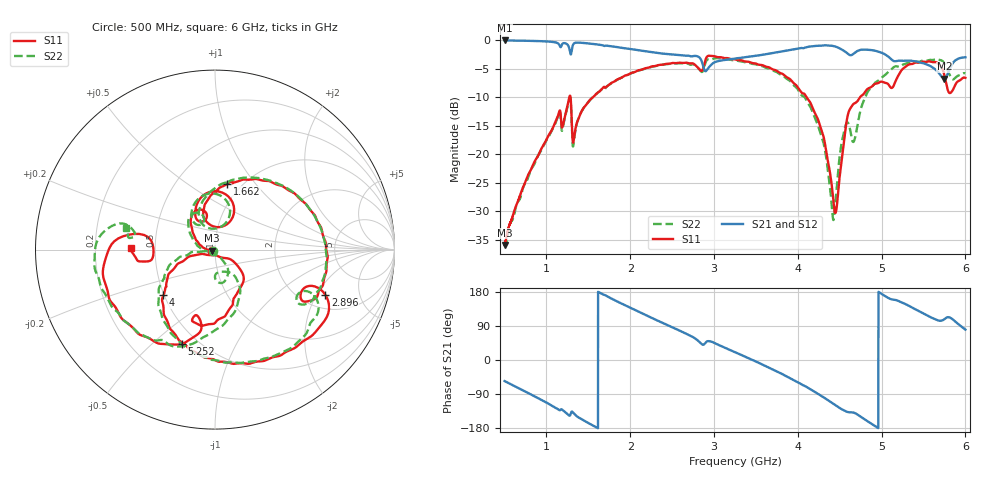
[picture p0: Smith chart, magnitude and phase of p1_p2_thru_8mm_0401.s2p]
# Hz S DB R 50
! CMT, C2409, 19096212, 19.2.3/2
! Date: 4/1/2022 3:30:12 AM
! Data: Format (Calibration Info)
! Freq	S11:dB/Ang(F2)	S21:dB/Ang(F2)	S12:dB/Ang(F2)	S22:dB/Ang(F2)
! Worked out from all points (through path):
!   5001 points, 500 MHz to 6 GHz, reference 50 ohm
!   highest |S21| = -0.08 dB at 501 MHz (marker M1); lowest = -6.8 dB at 5.749 GHz (marker M2)
!   group delay of S21, straight-line fit = 294 ps
!   lowest |S11| = -35.9 dB at 500 MHz (marker M3), VSWR 1.03, Z = 48.5 - j0.51 ohm
!   |S11| at or under -10 dB: start of sweep to 1.273 GHz; 1.286 GHz to 1.559 GHz (272.7 MHz wide, 19.2 % of centre); 4.102 GHz to 4.744 GHz (642.5 MHz wide, 14.5 % of centre)
!   |S22| runs from -36.2 to -3.2 dB; largest |S21 - S12| = 0.0074
!   S11 on the Smith chart (normalised r, x): 500 MHz: 0.97, -0.01; 1.662 GHz: 0.86, +0.73; 2.896 GHz: 2.65, -2.37; 4 GHz: 0.50, -0.30; 5.252 GHz: 0.41, -0.63; 6 GHz: 0.36, +0.02
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5e8  -35.93 -160.8  -0.08 -55.6  -0.08 -55.6  -36.16 -141.7
5.00995e8  -35.88 -161.1  -0.08 -55.8  -0.08 -55.7  -36.11 -141.8
9.172887e8  -19.75 156.4  -0.20 -102.7  -0.21 -102.7  -19.83 166.6
1.274013e9  -9.96 98.3  -1.60 -146.8  -1.62 -146.8  -10.25 103.1
1.320426e9  -17.93 90.1  -0.74 -139.9  -0.75 -140.0  -18.48 101.1
1.416977e9  -12.56 105.2  -0.49 -156.2  -0.52 -156.2  -12.58 112.2
1.662058e9  -8.59 79.6  -0.91 174.6  -0.93 174.6  -8.62 83.4
2.333793e9  -4.40 12.2  -2.29 103.1  -2.31 103.3  -4.46 12.9
2.895578e9  -3.57 -22.2  -5.48 45.2  -5.47 45.8  -4.07 -25.7
3.251061e9  -3.40 -66.7  -3.26 20.6  -3.21 20.9  -3.56 -69.3
3.662907e9  -4.84 -104.5  -2.38 -20.8  -2.32 -20.6  -5.06 -109.6
3.999713e9  -8.32 -138.4  -1.52 -58.7  -1.46 -58.7  -8.68 -146.6
4.168149e9  -11.62 -154.1  -1.11 -79.6  -1.07 -79.7  -12.36 -163.3
4.42429e9  -28.28 -127.9  -1.06 -115.7  -1.05 -115.6  -31.58 -111.1
4.551414e9  -17.75 -33.3  -1.91 -133.1  -1.92 -133.0  -16.07 -63.1
4.640491e9  -11.68 -59.1  -2.65 -137.9  -2.66 -137.6  -17.05 -89.3
4.874518e9  -8.26 -86.3  -1.76 -167.7  -1.74 -167.3  -8.35 -76.5
5.084846e9  -7.86 -108.0  -2.98 163.1  -2.95 163.3  -5.52 -102.1
5.251787e9  -5.07 -109.4  -3.66 150.7  -3.62 151.3  -4.34 -123.5
5.591167e9  -3.83 -157.9  -4.65 112.2  -4.56 112.5  -3.50 -163.3
5.748961e9  -6.17 170.4  -6.77 107.6  -6.70 107.8  -4.09 170.6
6e9  -6.63 177.9  -3.02 80.2  -2.97 80.3  -5.83 165.9
